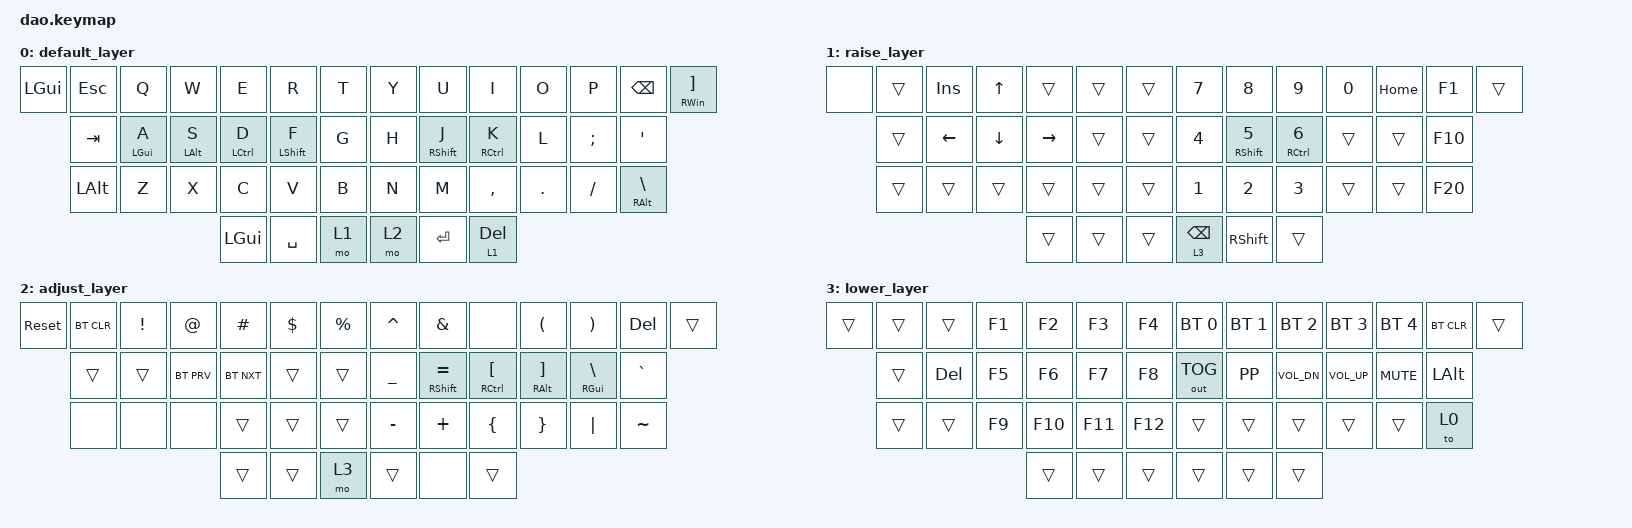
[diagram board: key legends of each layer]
/*
 * Copyright (c) 2021 Rafael Yumagulov
 *
 * SPDX-License-Identifier: MIT
 */

#include <behaviors.dtsi>
#include <dt-bindings/zmk/bt.h>
#include <dt-bindings/zmk/keys.h>
#include <dt-bindings/zmk/outputs.h>

#define DEF 0
#define LWR 1
#define RSE 2
#define ADJ 3

&lt { quick_tap_ms = <200>; };

&mt { quick_tap_ms = <200>; };

/ {
    chosen {
        // zmk,matrix_transform = &default_transform;

        zmk,matrix_transform = &extra_keys_transform;
    };
};

/ {
    combos {
        compatible = "zmk,combos";

        ParaLeft {
            bindings = <&kp LPAR>;
            key-positions = <5 18>;
        };

        ParaRight {
            bindings = <&kp RPAR>;
            key-positions = <8 21>;
        };

        BrakLeft {
            bindings = <&kp LEFT_BRACKET>;
            key-positions = <4 17>;
        };

        BrakRight {
            bindings = <&kp RIGHT_BRACKET>;
            key-positions = <9 22>;
        };

        BraceLeft {
            bindings = <&kp LEFT_BRACE>;
            key-positions = <3 16>;
        };

        BraceRight {
            bindings = <&kp RIGHT_BRACE>;
            key-positions = <10 23>;
        };

        Delete {
            bindings = <&kp DELETE>;
            key-positions = <9 10>;
        };

        CapsLock {
            bindings = <&kp CAPS>;
            key-positions = <19 20>;
        };
    };

    keymap {
        compatible = "zmk,keymap";

        default_layer {
            bindings = <
&kp LEFT_GUI  &kp ESCAPE  &kp Q           &kp W           &kp E         &kp R             &kp T    &kp Y  &kp U              &kp I        &kp O    &kp P     &kp BSPC       &mt RWIN RBKT
              &kp TAB     &mt LEFT_GUI A  &mt LEFT_ALT S  &mt LCTRL D   &mt LEFT_SHIFT F  &kp G    &kp H  &mt RIGHT_SHIFT J  &mt RCTRL K  &kp L    &kp SEMI  &kp APOS
              &kp LALT    &kp Z           &kp X           &kp C         &kp V             &kp B    &kp N  &kp M              &kp COMMA    &kp DOT  &kp FSLH  &mt RALT BSLH
                                                          &kp LEFT_GUI  &kp SPACE         &mo 1    &mo 2  &kp ENTER          &lt 1 DEL
            >;
        };

        raise_layer {
            bindings = <
&none  &trans  &kp INS   &kp UP          &trans     &trans  &trans    &kp NUMBER_7     &kp NUMBER_8              &kp NUMBER_9          &kp NUMBER_0  &kp HOME  &kp F1   &trans
       &trans  &kp LEFT  &kp DOWN_ARROW  &kp RIGHT  &trans  &trans    &kp N4           &mt RIGHT_SHIFT NUMBER_5  &mt RIGHT_CONTROL N6  &trans        &trans    &kp F10
       &trans  &trans    &trans          &trans     &trans  &trans    &kp NUMBER_1     &kp N2                    &kp N3                &trans        &trans    &kp F20
                                         &trans     &trans  &trans    &lt 3 BACKSPACE  &kp RSHIFT                &trans
            >;
        };

        adjust_layer {
            bindings = <
&sys_reset  &bt BT_CLR  &kp EXCL  &kp AT      &kp HASH    &kp DLLR  &kp PRCNT    &kp CARET  &kp AMPS               &none           &kp LPAR            &kp RPAR            &kp DEL    &trans
            &trans      &trans    &bt BT_PRV  &bt BT_NXT  &trans    &trans       &kp UNDER  &mt RIGHT_SHIFT EQUAL  &mt RCTRL LBKT  &mt RIGHT_ALT RBKT  &mt RIGHT_GUI BSLH  &kp GRAVE
            &none       &none     &none       &trans      &trans    &trans       &kp MINUS  &kp PLUS               &kp LBRC        &kp RBRC            &kp PIPE            &kp TILDE
                                              &trans      &trans    &mo 3        &trans     &none                  &trans
            >;
        };

        lower_layer {
            bindings = <
&trans  &trans  &trans   &kp F1  &kp F2   &kp F3   &kp F4     &bt BT_SEL 0  &bt BT_SEL 1  &bt BT_SEL 2  &bt BT_SEL 3     &bt BT_SEL 4  &bt BT_CLR    &trans
        &trans  &kp DEL  &kp F5  &kp F6   &kp F7   &kp F8     &out OUT_TOG  &kp K_PP      &kp C_VOL_DN  &kp C_VOLUME_UP  &kp C_MUTE    &kp LEFT_ALT
        &trans  &trans   &kp F9  &kp F10  &kp F11  &kp F12    &trans        &trans        &trans        &trans           &trans        &to 0
                                 &trans   &trans   &trans     &trans        &trans        &trans
            >;
        };
    };
};
